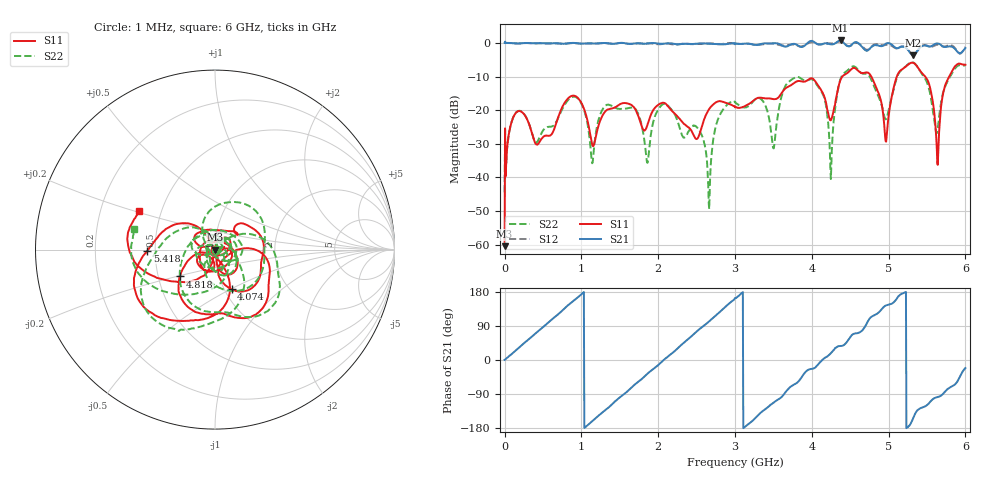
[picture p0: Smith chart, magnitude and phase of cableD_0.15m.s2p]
# GHZ S RI R 50.000000000000
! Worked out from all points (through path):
!   1001 points, 1 MHz to 6 GHz, reference 50 ohm
!   highest |S21| = 0.75 dB at 4.374 GHz (marker M1); lowest = -3.7 dB at 5.316 GHz (marker M2)
!   lowest |S11| = -60.4 dB at 1 MHz (marker M3), VSWR 1.00, Z = 50.1 - j0.0788 ohm
!   |S11| at or under -10 dB: start of sweep to 4.397 GHz; 4.776 GHz to 5.107 GHz (331.3 MHz wide, 6.71 % of centre); 5.477 GHz to 5.788 GHz (311.2 MHz wide, 5.52 % of centre)
!   |S22| runs from -49.4 to -5.7 dB; largest |S21 - S12| = 0.074
!   S11 on the Smith chart (normalised r, x): 1 MHz: 1.00, -0.00; 4.074 GHz: 1.08, -0.51; 4.818 GHz: 0.65, -0.21; 5.418 GHz: 0.45, -0.01; 6 GHz: 0.37, +0.21
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0.001  0.000534 -0.000788  1.007 0.00334  1 -0.0019  0.00601 3.76e-06
0.036994  0.00742 0.0292  0.9923 0.1119  0.9917 0.1114  0.00785 0.0289
0.144976  0.0608 0.0671  0.892 0.4137  0.8913 0.4145  0.0628 0.0657
0.552908  -0.0318 0.0271  -0.0996 0.9778  -0.1026 0.9781  -0.0427 0.0361
1.002833  0.0328 -0.1229  -0.9768 0.1065  -0.9746 0.1002  0.00299 -0.1243
1.14081  0.0188 -0.0245  -0.9344 -0.3043  -0.9323 -0.3136  -0.015 0.00634
1.512748  -0.0255 -0.122  -0.1196 -0.9926  -0.1243 -0.9935  0.015 -0.1036
1.86069  -0.0109 -0.0593  0.7899 -0.5772  0.7903 -0.5949  0.00876 0.014
2.004666  -0.0235 -0.1185  0.9513 -0.214  0.936 -0.1985  0.0506 -0.0909
2.664556  -0.0994 0.0316  -0.2045 0.9499  -0.2368 0.9582  0.000776 -0.00328
3.0005  -0.0211 0.1083  -0.9172 0.2709  -0.9483 0.29  -0.1195 0.0526
3.522413  0.1116 0.0944  -0.3306 -0.9388  -0.3261 -0.9086  -0.0389 0.00738
4.002333  0.2148 -0.2064  0.9876 -0.4262  0.9452 -0.3998  0.2236 -0.1822
4.074321  0.0924 -0.2216  0.9344 -0.2338  0.938 -0.2073  0.0551 -0.2242
4.248292  0.0542 -0.0455  0.9062 0.2928  0.9308 0.3163  -0.00587 0.00745
4.374271  0.2803 -0.0402  0.8713 0.6556  0.8389 0.6232  0.2887 0.0422
4.818197  -0.1959 -0.1494  -0.4439 0.8172  -0.4766 0.8262  -0.193 -0.0969
5.004166  0.0381 -0.0797  -0.8204 0.5527  -0.7785 0.5251  0.104 -0.0155
5.316114  -0.4305 -0.2716  -0.5942 -0.2747  -0.5952 -0.2727  -0.3651 -0.3637
5.418097  -0.3763 -0.00519  -0.5248 -0.6994  -0.5115 -0.7116  -0.3627 -0.0675
5.634061  -0.0154 0.00592  -0.1356 -0.9777  -0.0942 -0.9376  0.0463 0.0133
6  -0.4219 0.217  0.7839 -0.305  0.8388 -0.256  -0.4537 0.1139
